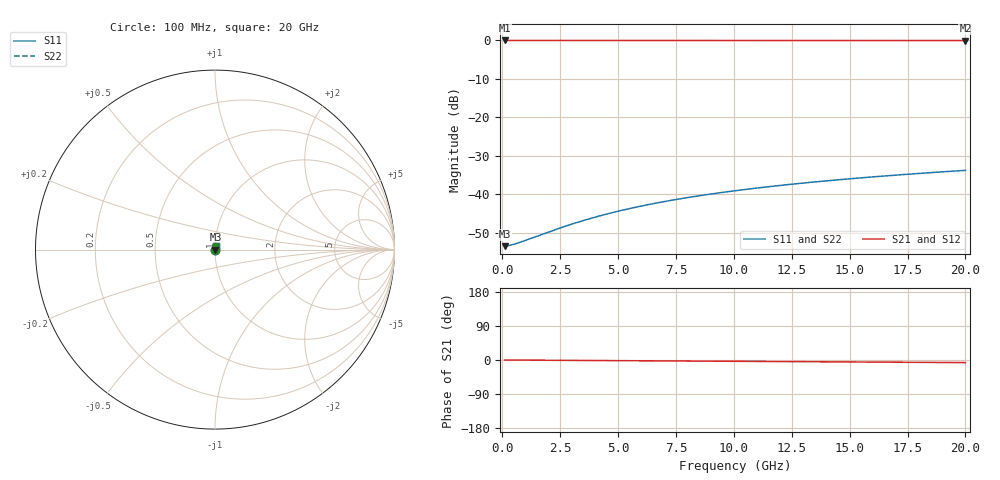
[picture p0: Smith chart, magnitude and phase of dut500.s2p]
! Touchstone file exported from HFSS 2026.1.0
!  File:  C:/ffzhzh/LocalFiles/Ansys_Project_Files/temp_train_TSV_500_1783023036_4048.aedt
!  Generated:  04:13:29 AM Jul  3, 2026
!  Design:  TSV
!  Project:  temp_train_TSV_500_1783023036_4048
! Variables:
!  h_bsmrdl = 2um
!  h_ox = 20um
!  h_rdl = 5um
!  h_sub = 73.73um
!  h_tmrdl = 5um
!  h_tsv = 73.73um
!  h_via = 3um
!  l_bsmrdl = 300um
!  l_sub = 404.02um
!  l_tmrdl = 200um
!  m_sub = 200um
!  pitch = 10.29um
!  r_tsv = 2.01um
!  s_tmrdl = 10um
!  w_bsmrdl = 18um
!  w_sub = 500um
!  w_tmrdl = 12um
!  x_tsv_center1 = 206um
!  x_tsv_center2 = 524um
!  x_tsv_center3 = 736um
!  x_tsv_center4 = 1054um
!  x_tsv_center5 = 1266um
!  x_tsv_center6 = 1584um
# GHz S MA R 50.000000
! Terminal data exported
! Port[1] = TSV1_1_T1
! Port[2] = TSV1_1_T2
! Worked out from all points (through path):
!   200 points, 100 MHz to 20 GHz, reference 50 ohm
!   highest |S21| = -0.02 dB at 100 MHz (marker M1); lowest = 0.0 dB at 20 GHz (marker M2)
!   lowest |S11| = -53.6 dB at 100 MHz (marker M3), VSWR 1.00, Z = 50.2 + j0.0127 ohm
!   |S11| at or under -10 dB: start of sweep to end of sweep
!   |S22| runs from -53.6 to -33.8 dB; largest |S21 - S12| = 3.1e-15
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0.1  0.002101 3.5  0.9979 -0.0  0.9979 -0.0  0.002101 3.5
! Gamma 0 0 0 0
! Port Impedance 50 0 50 0
0.3  0.002145 10.1  0.9979 -0.1  0.9979 -0.1  0.002145 10.1
0.4  0.002181 13.2  0.9979 -0.1  0.9979 -0.1  0.002181 13.2
0.6  0.002272 18.7  0.9979 -0.2  0.9979 -0.2  0.002272 18.7
1  0.002499 27.9  0.9978 -0.4  0.9978 -0.4  0.002499 27.9
2.5  0.003623 49.3  0.9977 -0.9  0.9977 -0.9  0.003623 49.3
3  0.004065 53.6  0.9976 -1.0  0.9976 -1.0  0.004065 53.6
3.5  0.004527 56.9  0.9976 -1.2  0.9976 -1.2  0.004527 56.9
4.3  0.005296 60.9  0.9975 -1.5  0.9975 -1.5  0.005296 60.9
5.1  0.006086 63.8  0.9975 -1.8  0.9975 -1.8  0.006086 63.8
5.9  0.006888 65.8  0.9974 -2.0  0.9974 -2.0  0.006888 65.8
6.8  0.007795 67.4  0.9973 -2.4  0.9973 -2.4  0.007795 67.4
7.6  0.008603 68.4  0.9972 -2.6  0.9972 -2.6  0.008603 68.4
8.4  0.009408 69.2  0.9971 -2.9  0.9971 -2.9  0.009408 69.2
9.2  0.01021 69.7  0.9969 -3.2  0.9969 -3.2  0.01021 69.7
10.1  0.0111 70.1  0.9968 -3.5  0.9968 -3.5  0.0111 70.2
11.7  0.01267 70.6  0.9966 -4.0  0.9966 -4.0  0.01267 70.6
13.4  0.01431 70.7  0.9963 -4.6  0.9963 -4.6  0.01431 70.7
15  0.01582 70.7  0.996 -5.1  0.996 -5.1  0.01582 70.7
16.7  0.01739 70.6  0.9957 -5.7  0.9957 -5.7  0.01739 70.6
18.3  0.01884 70.4  0.9955 -6.3  0.9955 -6.3  0.01884 70.4
20  0.02036 70.1  0.9952 -6.8  0.9952 -6.8  0.02036 70.1
